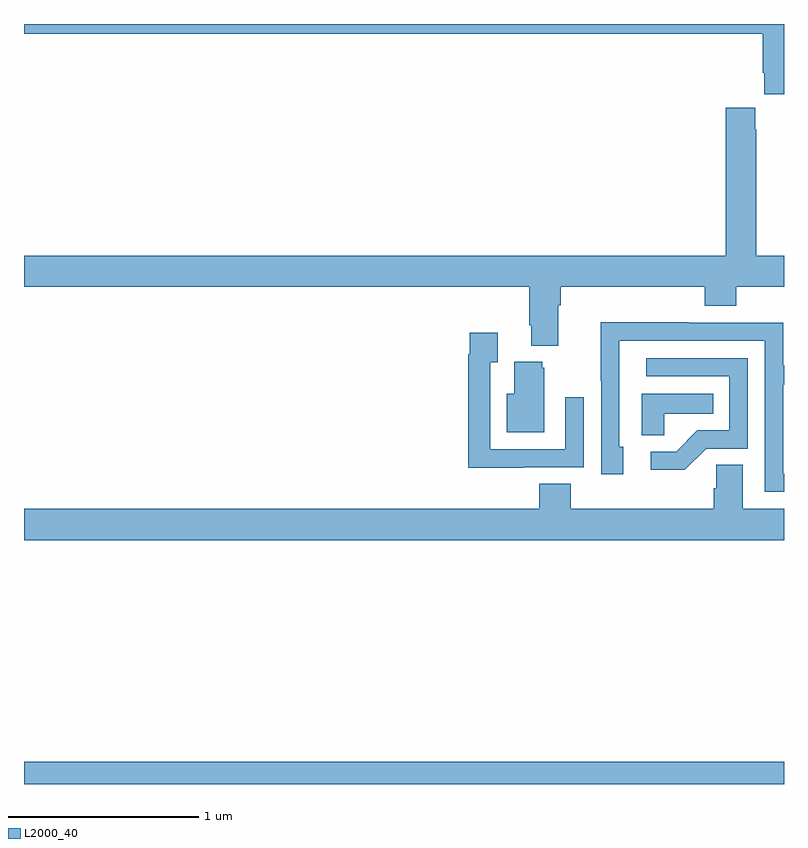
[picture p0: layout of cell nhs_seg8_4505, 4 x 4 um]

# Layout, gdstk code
import gdstk
lib = gdstk.Library(unit=1e-6, precision=1e-09)
def R(c, l, rs):  # rectangles x0, y0, x1, y1
    for r in rs: c.add(gdstk.rectangle(r[:2], r[2:], *l))
def P(c, l, *ps):  # polygons
    for p in ps: c.add(gdstk.Polygon(p, *l))
L2000_40 = (2000, 40)

nhs_seg8_4505 = lib.new_cell('nhs_seg8_4505')
R(nhs_seg8_4505, L2000_40, [(385,1097.9,389,1098.016)])
P(nhs_seg8_4505, L2000_40, [(389,1101.9),(385,1101.9),(385,1101.848),(388.889,1101.848),(388.889,1101.643),(388.895,1101.643),(388.895,1101.531),(389,1101.531)],
  [(387.811,1100.42),(387.824,1100.42),(387.824,1100.516),(388.583,1100.516),(388.583,1100.417),(388.748,1100.417),(388.748,1100.516),(389,1100.516),(389,1100.68),(388.854,1100.68),(388.854,1101.347),(388.849,1101.347),(388.849,1101.46),(388.694,1101.46),(388.694,1100.68),(385,1100.68),(385,1100.516),(387.659,1100.516),(387.659,1100.314),(387.671,1100.314),(387.671,1100.207),(387.811,1100.207)],
  [(389,1099.533),(388.995,1099.533),(388.995,1100.002),(389,1100.002),(389,1100.103),(388.995,1100.103),(388.995,1100.328),(388.499,1100.328),(388.499,1100.33),(388.036,1100.33),(388.036,1100.023),(388.038,1100.023),(388.038,1099.53),(388.153,1099.53),(388.153,1099.674),(388.134,1099.674),(388.134,1100.232),(388.899,1100.232),(388.899,1099.437),(389,1099.437)],
  [(387.629,1099.566),(387.945,1099.566),(387.945,1099.936),(387.849,1099.936),(387.849,1099.662),(387.453,1099.662),(387.453,1100.119),(387.493,1100.119),(387.493,1100.275),(387.345,1100.275),(387.345,1100.162),(387.337,1100.162),(387.337,1099.565),(387.629,1099.565)],
  [(388.59,1099.665),(388.809,1099.665),(388.809,1100.142),(388.275,1100.142),(388.275,1100.046),(388.713,1100.046),(388.713,1099.761),(388.544,1099.761),(388.433,1099.65),(388.299,1099.65),(388.299,1099.553),(388.477,1099.553)],
  [(387.739,1100.091),(387.728,1100.091),(387.728,1100.122),(387.581,1100.122),(387.581,1099.954),(387.542,1099.954),(387.542,1099.751),(387.739,1099.751)],
  [(388.371,1099.85),(388.628,1099.85),(388.628,1099.954),(388.25,1099.954),(388.25,1099.735),(388.371,1099.735)],
  [(389,1099.348),(388.783,1099.348),(388.783,1099.58),(388.644,1099.58),(388.644,1099.457),(388.631,1099.457),(388.631,1099.348),(387.878,1099.348),(387.878,1099.481),(387.713,1099.481),(387.713,1099.348),(385,1099.348),(385,1099.184),(389,1099.184)])

lib.write_gds('nhs_seg8_4505.gds')
